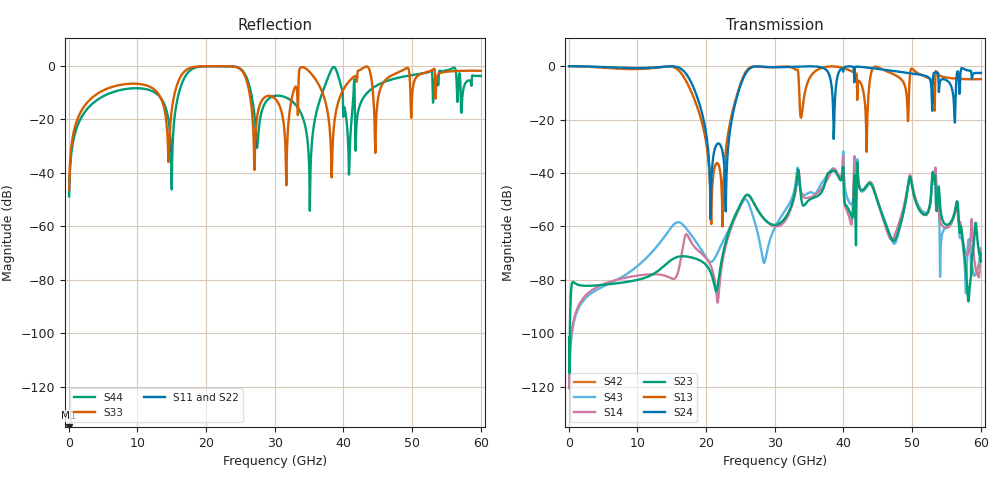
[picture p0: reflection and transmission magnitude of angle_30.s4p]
! TOUCHSTONE file generated by CST MICROWAVE STUDIO
! Date and time: Wed Jun 25 15:23:58 2025
! Project name: rogers4003c_air_gapped_wideband_balanced.cst
! Parameters = {h=3.4; lambda=10; period=5; phi=0; theta=30; thickness=0.508; w_mesh_1=2.2; w_mesh_2=2.2; w_patch_1=2; w_patch_2=2}
! Header version: 2018
! Port assignment regex: !\s*Touchstone port\s*([0-9]+)\s*=\s*(CST MWS port|CST DS port)\s*([0-9]+|Zmin|Zmax)\s*\(\"(.*)\"\)(\s*mode\s*([0-9]+))?.*
! Touchstone port assignment:
! Touchstone port 1 = CST MWS port Zmin ("") mode 1
! Touchstone port 2 = CST MWS port Zmin ("") mode 2
! Touchstone port 3 = CST MWS port Zmax ("") mode 1
! Touchstone port 4 = CST MWS port Zmax ("") mode 2
! S-Parameters are not renormalized. Unphysical impedance of 50 will be written to the file.
# GHz S RI R 50
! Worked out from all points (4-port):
!   1003 points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, 60 MHz to 60 GHz, reference per port
!   strongest paths, dB at 60 MHz, 15 GHz, 30 GHz, 45 GHz, 60 GHz:
!     S24: 0.0, 0.0, -0.4, -1.0, -2.5
!     S13: 0.0, -0.2, -0.3, -0.4, -4.8
!     S23: -101.5, -72.5, -59.4, -50.9, -73.1
!     S14: -120.7, -79.5, -59.9, -50.8, -72.1
!     S43: -116.2, -60.1, -60.5, -50.8, -69.1
!     S42: -, -, -, -, -
!   lowest |S11| = - dB at 60 MHz (marker M1), VSWR 1.00
!   |S11| at or under -10 dB: start of sweep to end of sweep
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0.06  0 0  0 0  1 -0.00482  -3.73e-08 -9.26e-07
      0 0  0 0  8.26e-07 -8.37e-06  1 -0.00386
      0 0  0 0  -2.41e-07 -0.00485  4.43e-07 -1.29e-06
      0 0  0 0  7.33e-07 -1.35e-06  -2.25e-06 -0.00364
15.9  0 0  0 0  -0.3316 -0.7922  -9.1e-05 0.000103
      0 0  0 0  -0.000252 -9.55e-05  -0.0151 -0.9564
      0 0  0 0  0.4481 -0.2106  -6.47e-05 -0.000927
      0 0  0 0  -0.000569 -0.00106  0.2656 -0.00984
20.82  0 0  0 0  0.00283 -0.000951  -0.000162 3.19e-05
       0 0  0 0  -0.000121 1.48e-05  0.00953 -0.00146
       0 0  0 0  -0.1466 -0.9855  9.88e-06 -0.00021
       0 0  0 0  6.73e-05 0.000207  -0.0734 -0.9929
26.52  0 0  0 0  0.5125 0.8148  -0.00312 0.00134
       0 0  0 0  -0.00336 0.000793  0.4231 0.8309
       0 0  0 0  -0.1864 0.1035  -0.00278 0.0011
       0 0  0 0  -0.00206 0.000154  -0.3061 0.1098
32.88  0 0  0 0  0.2452 -0.8523  0.0036 0.00068
       0 0  0 0  -0.000673 0.00396  0.9604 -0.1726
       0 0  0 0  0.3716 0.1127  0.000935 0.000652
       0 0  0 0  -0.000758 -0.00496  -0.0386 -0.1947
53.22  0 0  0 0  0.108 -0.2566  -0.00659 0.00423
       0 0  0 0  -0.007 0.00192  0.5147 -0.5551
       0 0  0 0  0.8812 0.1586  0.00618 -0.00425
       0 0  0 0  0.00587 -0.00407  0.4089 0.3914
60  0 0  0 0  0.3123 -0.4799  0.00017 0.000181
    0 0  0 0  0.000168 0.000145  0.4401 -0.6059
    0 0  0 0  0.686 0.4428  3.57e-05 0.000251
    0 0  0 0  -0.000233 0.000261  0.5334 0.3765
